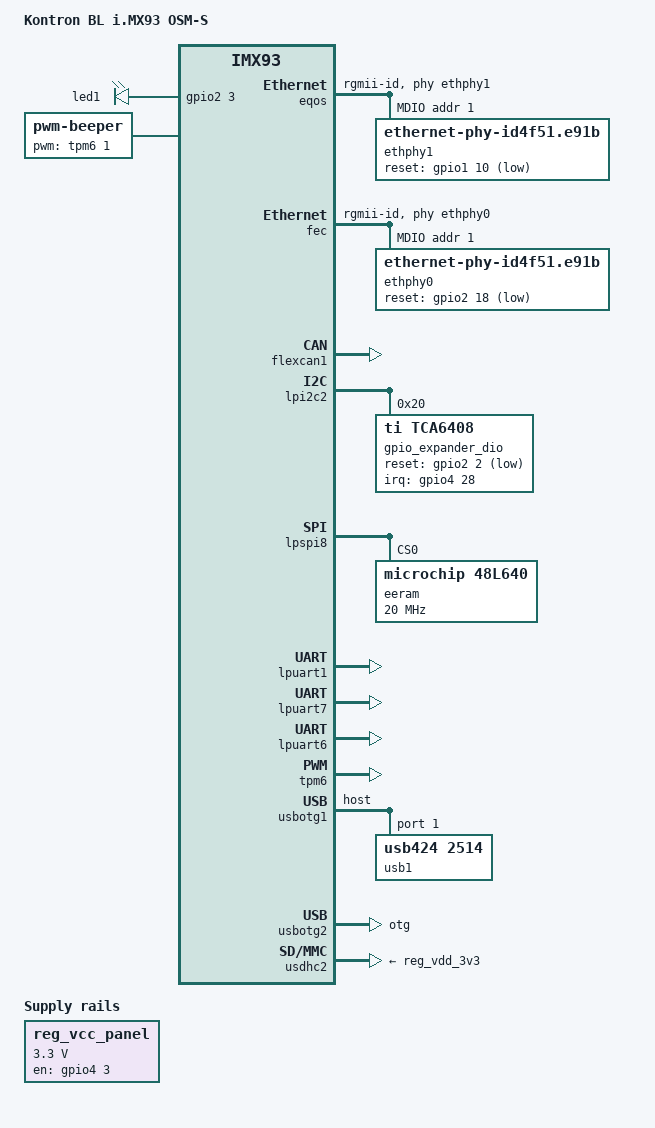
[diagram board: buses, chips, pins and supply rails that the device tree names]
// SPDX-License-Identifier: GPL-2.0+ OR MIT
/*
 * Copyright (C) 2024 Kontron Electronics GmbH
 */

/dts-v1/;

#include "imx93-kontron-osm-s.dtsi"

/ {
	model = "Kontron BL i.MX93 OSM-S";
	compatible = "kontron,imx93-bl-osm-s", "kontron,imx93-osm-s", "fsl,imx93";

	aliases {
		ethernet0 = &fec;
		ethernet1 = &eqos;
	};

	leds {
		compatible = "gpio-leds";

		led1 {
			label = "led1";
			gpios = <&gpio2 3 GPIO_ACTIVE_HIGH>;
			linux,default-trigger = "heartbeat";
		};
	};

	pwm-beeper {
		compatible = "pwm-beeper";
		pwms = <&tpm6 1 5000 0>;
	};

	reg_vcc_panel: regulator-vcc-panel {
		compatible = "regulator-fixed";
		gpio = <&gpio4 3 GPIO_ACTIVE_HIGH>;
		enable-active-high;
		regulator-max-microvolt = <3300000>;
		regulator-min-microvolt = <3300000>;
		regulator-name = "VCC_PANEL";
	};
};

&eqos { /* Second ethernet (OSM-S ETH_B) */
	pinctrl-names = "default";
	pinctrl-0 = <&pinctrl_eqos_rgmii>;
	phy-mode = "rgmii-id";
	phy-handle = <&ethphy1>;
	status = "okay";

	mdio {
		compatible = "snps,dwmac-mdio";
		#address-cells = <1>;
		#size-cells = <0>;

		ethphy1: ethernet-phy@1 {
			compatible = "ethernet-phy-id4f51.e91b";
			reg = <1>;
			reset-assert-us = <10000>;
			reset-gpios = <&gpio1 10 GPIO_ACTIVE_LOW>;
		};
	};
};

&fec { /* First ethernet (OSM-S ETH_A) */
	pinctrl-names = "default";
	pinctrl-0 = <&pinctrl_enet_rgmii>;
	phy-connection-type = "rgmii-id";
	phy-handle = <&ethphy0>;
	status = "okay";

	mdio {
		#address-cells = <1>;
		#size-cells = <0>;

		ethphy0: ethernet-phy@1 {
			compatible = "ethernet-phy-id4f51.e91b";
			reg = <1>;
			reset-assert-us = <10000>;
			reset-gpios = <&gpio2 18 GPIO_ACTIVE_LOW>;
		};
	};
};

&flexcan1 {
	status = "okay";
};

&lpi2c2 {
	status = "okay";

	gpio_expander_dio: gpio@20 {
		compatible = "ti,tca6408";
		reg = <0x20>;
		gpio-controller;
		#gpio-cells = <2>;
		gpio-line-names = "DIO1_OUT","DIO1_IN", "DIO2_OUT","DIO2_IN",
				  "DIO3_OUT","DIO3_IN", "DIO4_OUT","DIO4_IN";
		interrupt-parent = <&gpio4>;
		interrupts = <28 IRQ_TYPE_EDGE_FALLING>;
		reset-gpios = <&gpio2 2 GPIO_ACTIVE_LOW>;
	};
};

&lpspi8 {
	assigned-clocks = <&clk IMX93_CLK_LPSPI8>;
	assigned-clock-parents = <&clk IMX93_CLK_SYS_PLL_PFD0_DIV2>;
	assigned-clock-rates = <100000000>;
	status = "okay";

	eeram@0 {
		compatible = "microchip,48l640";
		reg = <0>;
		spi-max-frequency = <20000000>;
	};
};

&lpuart1 {
	status = "okay";
};

&lpuart7 {
	uart-has-rtscts;
	status = "okay";
};

&lpuart6 {
	linux,rs485-enabled-at-boot-time;
	uart-has-rtscts;
	status = "okay";
};

&tpm6 {
	status = "okay";
};

&usbotg1 {
	#address-cells = <1>;
	#size-cells = <0>;
	disable-over-current;
	dr_mode = "host";
	status = "okay";

	usb1@1 {
		compatible = "usb424,2514";
		reg = <1>;
	};
};

&usbotg2 {
	adp-disable;
	hnp-disable;
	srp-disable;
	disable-over-current;
	dr_mode = "otg";
	usb-role-switch;
	status = "okay";
};

&usdhc2 {
	vmmc-supply = <&reg_vdd_3v3>;
	status = "okay";
};
